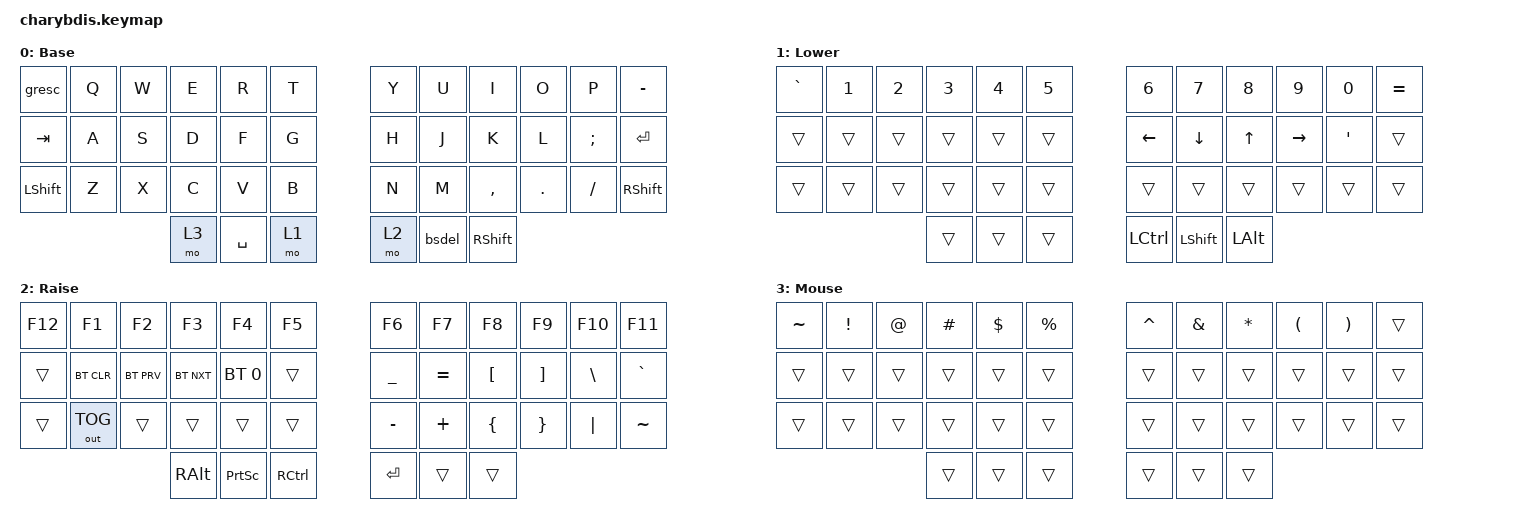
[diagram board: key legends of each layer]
#include <dt-bindings/zmk/mouse.h>
#include <behaviors.dtsi>
#include <dt-bindings/zmk/bt.h>
#include <dt-bindings/zmk/keys.h>
#include <dt-bindings/zmk/outputs.h>

&lt {
    tapping-term-ms = <240>;
    flavor = "balanced";
    quick-tap-ms = <150>;
};

/ {


    behaviors {
        bsdel: bsdel {
            compatible = "zmk,behavior-mod-morph";
            label = "BSDEL";
            bindings = <&kp BACKSPACE>, <&kp DEL>;

            #binding-cells = <0>;
            mods = <(MOD_LSFT)>;
        };
    };

    keymap {
        compatible = "zmk,keymap";

        Base {
            label = "Base";
            bindings = <
&gresc     &kp Q  &kp W  &kp E  &kp R      &kp T    &kp Y  &kp U   &kp I            &kp O    &kp P     &kp MINUS
&kp TAB    &kp A  &kp S  &kp D  &kp F      &kp G    &kp H  &kp J   &kp K            &kp L    &kp SEMI  &kp ENTER
&kp LSHFT  &kp Z  &kp X  &kp C  &kp V      &kp B    &kp N  &kp M   &kp COMMA        &kp DOT  &kp FSLH  &kp RSHIFT
                         &mo 3  &kp SPACE  &mo 1    &mo 2  &bsdel  &kp RIGHT_SHIFT
            >;


        };

        Lower {
            label = "Lower";
            bindings = <
&kp GRAVE  &kp NUMBER_1  &kp NUMBER_2  &kp NUMBER_3  &kp NUMBER_4  &kp N5    &kp NUMBER_6  &kp N7          &kp N8        &kp N9     &kp N0            &kp EQUAL
&trans     &trans        &trans        &trans        &trans        &trans    &kp LEFT      &kp DOWN        &kp UP_ARROW  &kp RIGHT  &kp SINGLE_QUOTE  &trans
&trans     &trans        &trans        &trans        &trans        &trans    &trans        &trans          &trans        &trans     &trans            &trans
                                       &trans        &trans        &trans    &kp LCTRL     &kp LEFT_SHIFT  &kp LEFT_ALT
            >;


        };

        Raise {
            label = "Raise";
            bindings = <
&kp F12  &kp F1        &kp F2      &kp F3         &kp F4           &kp F5       &kp F6     &kp F7     &kp F8    &kp F9    &kp F10   &kp F11
&trans   &bt BT_CLR    &bt BT_PRV  &bt BT_NXT     &bt BT_SEL 0     &trans       &kp UNDER  &kp EQUAL  &kp LBKT  &kp RBKT  &kp BSLH  &kp GRAVE
&trans   &out OUT_TOG  &trans      &trans         &trans           &trans       &kp MINUS  &kp PLUS   &kp LBRC  &kp RBRC  &kp PIPE  &kp TILDE
                                   &kp RIGHT_ALT  &kp PRINTSCREEN  &kp RCTRL    &kp RET    &trans     &trans
            >;


        };

        Mouse {
            bindings = <
&kp TILDE  &kp EXCLAMATION  &kp AT_SIGN  &kp HASH   &kp DOLLAR  &kp PERCENT    &kp CARET  &kp AMPERSAND  &kp ASTERISK  &kp LEFT_PARENTHESIS  &kp RIGHT_PARENTHESIS  &trans
&trans     &trans           &trans       &trans     &trans      &trans         &trans     &trans         &trans        &trans                &trans                 &trans
&trans     &trans           &trans       &trans     &trans      &trans         &trans     &trans         &trans        &trans                &trans                 &trans
                                         &trans     &trans      &trans         &trans   &trans       &trans
            >;

        };
    };
};
